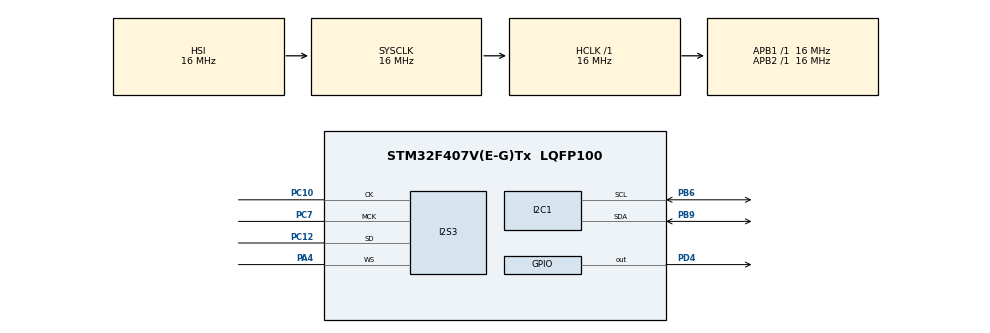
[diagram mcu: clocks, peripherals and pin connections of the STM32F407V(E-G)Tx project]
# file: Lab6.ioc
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Dma.Request0=SPI3_TX
Dma.SPI3_TX.0.Direction=DMA_MEMORY_TO_PERIPH
Dma.SPI3_TX.0.FIFOMode=DMA_FIFOMODE_ENABLE
Dma.SPI3_TX.0.FIFOThreshold=DMA_FIFO_THRESHOLD_FULL
Dma.SPI3_TX.0.Instance=DMA1_Stream5
Dma.SPI3_TX.0.MemBurst=DMA_MBURST_SINGLE
Dma.SPI3_TX.0.MemDataAlignment=DMA_MDATAALIGN_HALFWORD
Dma.SPI3_TX.0.MemInc=DMA_MINC_ENABLE
Dma.SPI3_TX.0.Mode=DMA_CIRCULAR
Dma.SPI3_TX.0.PeriphBurst=DMA_PBURST_SINGLE
Dma.SPI3_TX.0.PeriphDataAlignment=DMA_PDATAALIGN_HALFWORD
Dma.SPI3_TX.0.PeriphInc=DMA_PINC_DISABLE
Dma.SPI3_TX.0.Priority=DMA_PRIORITY_LOW
I2S3.AudioFreq=I2S_AUDIOFREQ_48K
I2S3.ErrorAudioFreq=-2.34 %
I2S3.FullDuplexMode=I2S_FULLDUPLEXMODE_DISABLE
I2S3.Instance=SPI$Index
I2S3.RealAudioFreq=46.875 KHz
I2S3.VirtualMode=I2S_MODE_MASTER
Mcu.Family=STM32F4
Mcu.Name=STM32F407V(E-G)Tx
Mcu.Package=LQFP100
NVIC.DMA1_Stream5_IRQn=true\:0\:0\:false\:false\:true\:false\:true\:true
NVIC.PriorityGroup=NVIC_PRIORITYGROUP_4
PA4.Mode=Half_Duplex_Master
PA4.Signal=I2S3_WS
PB6.Mode=I2C
PB6.Signal=I2C1_SCL
PB9.Mode=I2C
PB9.Signal=I2C1_SDA
PC10.Mode=Half_Duplex_Master
PC10.Signal=I2S3_CK
PC12.Mode=Half_Duplex_Master
PC12.Signal=I2S3_SD
PC7.Mode=Master_Clock_Activated
PC7.Signal=I2S3_MCK
PD4.Signal=GPIO_Output
ProjectManager.HeapSize=0x200
ProjectManager.StackSize=0x400
ProjectManager.TargetToolchain=STM32CubeIDE
RCC.AHBFreq_Value=16000000
RCC.APB1Freq_Value=16000000
RCC.APB2Freq_Value=16000000
RCC.CortexFreq_Value=16000000
RCC.HSE_VALUE=25000000
RCC.HSI_VALUE=16000000
RCC.LSE_VALUE=32768
RCC.SYSCLKFreq_VALUE=16000000
RCC.VCOOutputFreq_Value=192000000
board=custom

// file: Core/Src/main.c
/* USER CODE BEGIN Header */
/**
  ******************************************************************************
  * @file           : main.c
  * @brief          : Main program body
  ******************************************************************************
  * @attention
  *
  * Copyright (c) 2025 STMicroelectronics.
  * All rights reserved.
  *
  * This software is licensed under terms that can be found in the LICENSE file
  * in the root directory of this software component.
  * If no LICENSE file comes with this software, it is provided AS-IS.
  *
  ******************************************************************************
  */
/* USER CODE END Header */
#include "main.h"

/* USER CODE BEGIN PTD */

typedef enum
{
	C4,
	C5,
    D5,
    E5,
    F5,
    G5,
    A5,
	MAX_VALUE
} soundToneType;

/* USER CODE END PTD */

/* USER CODE BEGIN PD */

#define CS43L22_I2C_ADDRESS		0x94
#define I2C_TIMEOUT				10

/* USER CODE END PD */

I2C_HandleTypeDef hi2c1;

I2S_HandleTypeDef hi2s3;
DMA_HandleTypeDef hdma_spi3_tx;

/* USER CODE BEGIN PV */

int16_t dataI2S[100] = {0};

/* USER CODE END PV */

void SystemClock_Config(void);
static void MX_GPIO_Init(void);
static void MX_DMA_Init(void);
static void MX_I2C1_Init(void);
static void MX_I2S3_Init(void);

/* USER CODE BEGIN 0 */

void CS43L22_Init(void)
{
	// Enable chip
	HAL_GPIO_WritePin(GPIOD, GPIO_PIN_4, GPIO_PIN_SET);

	//
	// Initialization
	//
	uint8_t TxBuffer[2];

	TxBuffer[0] = 0x0D;
	TxBuffer[1] = 0x01;
	HAL_I2C_Master_Transmit(&hi2c1, CS43L22_I2C_ADDRESS, (uint8_t*) &TxBuffer, 2, I2C_TIMEOUT);

	TxBuffer[0] = 0x00;
	TxBuffer[1] = 0x99;
	HAL_I2C_Master_Transmit(&hi2c1, CS43L22_I2C_ADDRESS, (uint8_t*) &TxBuffer, 2, I2C_TIMEOUT);

	TxBuffer[0] = 0x47;
	TxBuffer[1] = 0x80;
	HAL_I2C_Master_Transmit(&hi2c1, CS43L22_I2C_ADDRESS, (uint8_t*) &TxBuffer, 2, I2C_TIMEOUT);

	TxBuffer[0] = 0x32;
	TxBuffer[1] = 0xFF;
	HAL_I2C_Master_Transmit(&hi2c1, CS43L22_I2C_ADDRESS, (uint8_t*) &TxBuffer, 2, I2C_TIMEOUT);

	TxBuffer[0] = 0x32;
	TxBuffer[1] = 0x7F;
	HAL_I2C_Master_Transmit(&hi2c1, CS43L22_I2C_ADDRESS, (uint8_t*) &TxBuffer, 2, I2C_TIMEOUT);

	TxBuffer[0] = 0x00;
	TxBuffer[1] = 0x00;
	HAL_I2C_Master_Transmit(&hi2c1, CS43L22_I2C_ADDRESS, (uint8_t*) &TxBuffer, 2, I2C_TIMEOUT);

	TxBuffer[0] = 0x04;
	TxBuffer[1] = 0xAF;
	HAL_I2C_Master_Transmit(&hi2c1, CS43L22_I2C_ADDRESS, (uint8_t*) &TxBuffer, 2, I2C_TIMEOUT);

	TxBuffer[0] = 0x0D;
	TxBuffer[1] = 0x70;
	HAL_I2C_Master_Transmit(&hi2c1, CS43L22_I2C_ADDRESS, (uint8_t*) &TxBuffer, 2, I2C_TIMEOUT);

	TxBuffer[0] = 0x05;
	TxBuffer[1] = 0x81;
	HAL_I2C_Master_Transmit(&hi2c1, CS43L22_I2C_ADDRESS, (uint8_t*) &TxBuffer, 2, I2C_TIMEOUT);

	TxBuffer[0] = 0x06;
	TxBuffer[1] = 0x07;
	HAL_I2C_Master_Transmit(&hi2c1, CS43L22_I2C_ADDRESS, (uint8_t*) &TxBuffer, 2, I2C_TIMEOUT);

	TxBuffer[0] = 0x0A;
	TxBuffer[1] = 0x00;
	HAL_I2C_Master_Transmit(&hi2c1, CS43L22_I2C_ADDRESS, (uint8_t*) &TxBuffer, 2, I2C_TIMEOUT);

	TxBuffer[0] = 0x27;
	TxBuffer[1] = 0x00;
	HAL_I2C_Master_Transmit(&hi2c1, CS43L22_I2C_ADDRESS, (uint8_t*) &TxBuffer, 2, I2C_TIMEOUT);

	TxBuffer[0] = 0x1A;
	TxBuffer[1] = 0x0A;
	HAL_I2C_Master_Transmit(&hi2c1, CS43L22_I2C_ADDRESS, (uint8_t*) &TxBuffer, 2, I2C_TIMEOUT);

	TxBuffer[0] = 0x1B;
	TxBuffer[1] = 0x0A;
	HAL_I2C_Master_Transmit(&hi2c1, CS43L22_I2C_ADDRESS, (uint8_t*) &TxBuffer, 2, I2C_TIMEOUT);

	TxBuffer[0] = 0x1F;
	TxBuffer[1] = 0x0F;
	HAL_I2C_Master_Transmit(&hi2c1, CS43L22_I2C_ADDRESS, (uint8_t*) &TxBuffer, 2, I2C_TIMEOUT);

	TxBuffer[0] = 0x02;
	TxBuffer[1] = 0x9E;
	HAL_I2C_Master_Transmit(&hi2c1, CS43L22_I2C_ADDRESS, (uint8_t*) &TxBuffer, 2, I2C_TIMEOUT);
}

void CS43L22_Beep(soundToneType pitch, uint32_t duration_ms)
{
	uint8_t TxBuffer[2];

	// Set volume and off time
	TxBuffer[0] = 0x1D;		// Register address
	TxBuffer[1] = 0x00;		// Value (volume and off time)
	HAL_I2C_Master_Transmit(&hi2c1, CS43L22_I2C_ADDRESS, (uint8_t*) &TxBuffer, 2, I2C_TIMEOUT);

	// Set sound frequency
	TxBuffer[0] = 0x1C;		// Register address
	switch (pitch)
	{
		case C4:
			TxBuffer[1] = 0x00;
			break;
		case C5:
			TxBuffer[1] = 0x1F;
			break;
    	case D5:
			TxBuffer[1] = 0x2F;
			break;
    	case E5:
			TxBuffer[1] = 0x3F;
			break;
    	case F5:
			TxBuffer[1] = 0x4F;
			break;
    	case G5:
			TxBuffer[1] = 0x5F;
			break;
    	case A5:
			TxBuffer[1] = 0x6F;
			break;

		case MAX_VALUE:
		default:
			TxBuffer[1] = 0x00;
			break;
	}
	HAL_I2C_Master_Transmit(&hi2c1, CS43L22_I2C_ADDRESS, (uint8_t*) &TxBuffer, 2, I2C_TIMEOUT);

	// Enable continuous mode (SOUND STARTED)
	TxBuffer[0] = 0x1E;		// Register address
	TxBuffer[1] = 0xC0;		// Value (beep and tone configuration)
	HAL_I2C_Master_Transmit(&hi2c1, CS43L22_I2C_ADDRESS, (uint8_t*) &TxBuffer, 2, I2C_TIMEOUT);

	// Playing...
	HAL_Delay(duration_ms);

	// Disable continuous mode (SOUND STOPED)
	TxBuffer[0] = 0x1E;		// Register address
	TxBuffer[1] = 0x00;		// Value (beep and tone configuration)
	HAL_I2C_Master_Transmit(&hi2c1, CS43L22_I2C_ADDRESS, (uint8_t*) &TxBuffer, 2, I2C_TIMEOUT);
}

/* USER CODE END 0 */

int main(void)
{

  /* MCU Configuration--------------------------------------------------------*/

  /* Reset of all peripherals, Initializes the Flash interface and the Systick. */
  HAL_Init();

  /* Configure the system clock */
  SystemClock_Config();

  /* Initialize all configured peripherals */
  MX_GPIO_Init();
  MX_DMA_Init();
  MX_I2C1_Init();
  MX_I2S3_Init();
  /* USER CODE BEGIN 2 */

  // Init DAC
  CS43L22_Init();

  // Transmit empty data
  HAL_I2S_Transmit_DMA(&hi2s3, (uint16_t *)dataI2S, 100);

  int melody_count = 0;

  /* USER CODE END 2 */

  /* Infinite loop */
  /* USER CODE BEGIN WHILE */
  while (1)
  {
	  if (melody_count >= 3)
	  {
		  break;
	  }

	  CS43L22_Beep(E5, 300);
	  HAL_Delay(50);
	  CS43L22_Beep(D5, 300);
	  HAL_Delay(50);
	  CS43L22_Beep(C5, 300);
	  HAL_Delay(50);

	  CS43L22_Beep(D5, 300);
	  HAL_Delay(50);
	  CS43L22_Beep(E5, 600);
	  HAL_Delay(300);

	  CS43L22_Beep(E5, 300);
	  HAL_Delay(50);
	  CS43L22_Beep(D5, 300);
	  HAL_Delay(50);
	  CS43L22_Beep(C5, 300);
	  HAL_Delay(50);

	  CS43L22_Beep(D5, 300);
	  HAL_Delay(50);
	  CS43L22_Beep(E5, 600);
	  HAL_Delay(300);

	  CS43L22_Beep(F5, 300);
	  HAL_Delay(50);
	  CS43L22_Beep(F5, 300);
	  HAL_Delay(50);
	  CS43L22_Beep(E5, 300);
	  HAL_Delay(50);
	  CS43L22_Beep(E5, 300);
	  HAL_Delay(50);
	  CS43L22_Beep(D5, 300);
	  HAL_Delay(50);
	  CS43L22_Beep(D5, 300);
	  HAL_Delay(50);
	  CS43L22_Beep(C5, 600);
	  HAL_Delay(300);

	  CS43L22_Beep(G5, 300);
	  HAL_Delay(50);
	  CS43L22_Beep(E5, 300);
	  HAL_Delay(50);
	  CS43L22_Beep(D5, 300);
	  HAL_Delay(50);
	  CS43L22_Beep(C5, 1000);
	  HAL_Delay(2000);

	  melody_count++;

    /* USER CODE END WHILE */

  }
}

void SystemClock_Config(void)
{
  RCC_OscInitTypeDef RCC_OscInitStruct = {0};
  RCC_ClkInitTypeDef RCC_ClkInitStruct = {0};

  /** Macro to configure the PLL multiplication factor
  */
  __HAL_RCC_PLL_PLLM_CONFIG(16);

  /** Macro to configure the PLL clock source
  */
  __HAL_RCC_PLL_PLLSOURCE_CONFIG(RCC_PLLSOURCE_HSI);

  /** Configure the main internal regulator output voltage
  */
  __HAL_RCC_PWR_CLK_ENABLE();
  __HAL_PWR_VOLTAGESCALING_CONFIG(PWR_REGULATOR_VOLTAGE_SCALE1);

  /** Initializes the RCC Oscillators according to the specified parameters
  * in the RCC_OscInitTypeDef structure.
  */
  RCC_OscInitStruct.OscillatorType = RCC_OSCILLATORTYPE_HSI;
  RCC_OscInitStruct.HSIState = RCC_HSI_ON;
  RCC_OscInitStruct.HSICalibrationValue = RCC_HSICALIBRATION_DEFAULT;
  RCC_OscInitStruct.PLL.PLLState = RCC_PLL_NONE;
  RCC_OscInitStruct.PLL.PLLSource = RCC_PLLSOURCE_HSI;
  if (HAL_RCC_OscConfig(&RCC_OscInitStruct) != HAL_OK)
  {
    Error_Handler();
  }

  /** Initializes the CPU, AHB and APB buses clocks
  */
  RCC_ClkInitStruct.ClockType = RCC_CLOCKTYPE_HCLK|RCC_CLOCKTYPE_SYSCLK
                              |RCC_CLOCKTYPE_PCLK1|RCC_CLOCKTYPE_PCLK2;
  RCC_ClkInitStruct.SYSCLKSource = RCC_SYSCLKSOURCE_HSI;
  RCC_ClkInitStruct.AHBCLKDivider = RCC_SYSCLK_DIV1;
  RCC_ClkInitStruct.APB1CLKDivider = RCC_HCLK_DIV1;
  RCC_ClkInitStruct.APB2CLKDivider = RCC_HCLK_DIV1;

  if (HAL_RCC_ClockConfig(&RCC_ClkInitStruct, FLASH_LATENCY_0) != HAL_OK)
  {
    Error_Handler();
  }
}

static void MX_I2C1_Init(void)
{

  hi2c1.Instance = I2C1;
  hi2c1.Init.ClockSpeed = 100000;
  hi2c1.Init.DutyCycle = I2C_DUTYCYCLE_2;
  hi2c1.Init.OwnAddress1 = 0;
  hi2c1.Init.AddressingMode = I2C_ADDRESSINGMODE_7BIT;
  hi2c1.Init.DualAddressMode = I2C_DUALADDRESS_DISABLE;
  hi2c1.Init.OwnAddress2 = 0;
  hi2c1.Init.GeneralCallMode = I2C_GENERALCALL_DISABLE;
  hi2c1.Init.NoStretchMode = I2C_NOSTRETCH_DISABLE;
  if (HAL_I2C_Init(&hi2c1) != HAL_OK)
  {
    Error_Handler();
  }

}

static void MX_I2S3_Init(void)
{

  hi2s3.Instance = SPI3;
  hi2s3.Init.Mode = I2S_MODE_MASTER_TX;
  hi2s3.Init.Standard = I2S_STANDARD_PHILIPS;
  hi2s3.Init.DataFormat = I2S_DATAFORMAT_16B;
  hi2s3.Init.MCLKOutput = I2S_MCLKOUTPUT_ENABLE;
  hi2s3.Init.AudioFreq = I2S_AUDIOFREQ_48K;
  hi2s3.Init.CPOL = I2S_CPOL_LOW;
  hi2s3.Init.ClockSource = I2S_CLOCK_PLL;
  hi2s3.Init.FullDuplexMode = I2S_FULLDUPLEXMODE_DISABLE;
  if (HAL_I2S_Init(&hi2s3) != HAL_OK)
  {
    Error_Handler();
  }

}

static void MX_DMA_Init(void)
{

  /* DMA controller clock enable */
  __HAL_RCC_DMA1_CLK_ENABLE();

  /* DMA interrupt init */
  /* DMA1_Stream5_IRQn interrupt configuration */
  HAL_NVIC_SetPriority(DMA1_Stream5_IRQn, 0, 0);
  HAL_NVIC_EnableIRQ(DMA1_Stream5_IRQn);

}

static void MX_GPIO_Init(void)
{
  GPIO_InitTypeDef GPIO_InitStruct = {0};

  /* GPIO Ports Clock Enable */
  __HAL_RCC_GPIOA_CLK_ENABLE();
  __HAL_RCC_GPIOC_CLK_ENABLE();
  __HAL_RCC_GPIOD_CLK_ENABLE();
  __HAL_RCC_GPIOB_CLK_ENABLE();

  /*Configure GPIO pin Output Level */
  HAL_GPIO_WritePin(GPIOD, GPIO_PIN_4, GPIO_PIN_RESET);

  /*Configure GPIO pin : PD4 */
  GPIO_InitStruct.Pin = GPIO_PIN_4;
  GPIO_InitStruct.Mode = GPIO_MODE_OUTPUT_PP;
  GPIO_InitStruct.Pull = GPIO_NOPULL;
  GPIO_InitStruct.Speed = GPIO_SPEED_FREQ_LOW;
  HAL_GPIO_Init(GPIOD, &GPIO_InitStruct);

}

void Error_Handler(void)
{
  __disable_irq();
  while (1)
  {
  }
}
